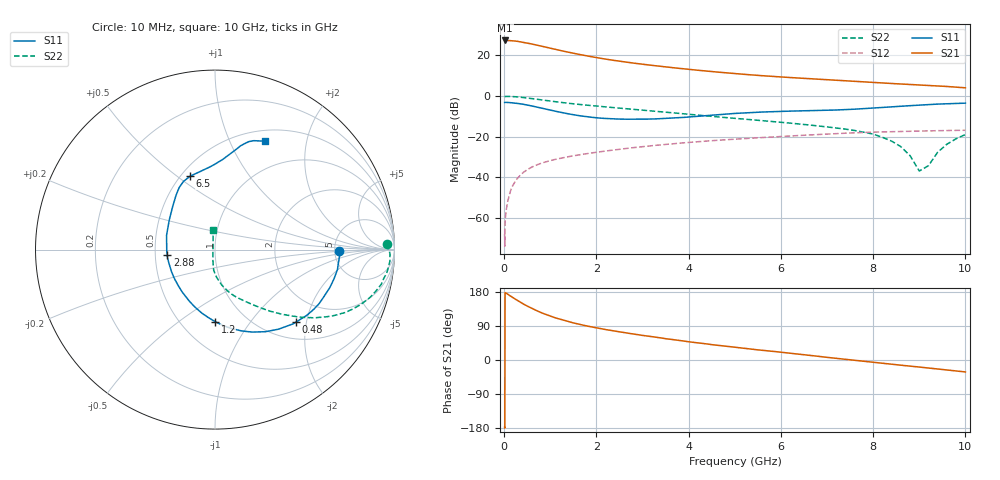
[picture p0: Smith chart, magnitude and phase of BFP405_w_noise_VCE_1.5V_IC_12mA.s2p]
! Infineon Technologies  Discrete & RF Semiconductors
! BFP405
! VCE =  1.5 V,  IC =  12 mA
! Common Emitter S-Parameters:  Jan 2016
# GHz  S  MA  R  50
!  f  S11  S21  S12  S22
! GHz  MAG  ANG  MAG  ANG  MAG  ANG  MAG  ANG
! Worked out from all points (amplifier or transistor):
!   233 points, 10 MHz to 10 GHz, reference 50 ohm
!   highest |S21| = 27.3 dB at 20 MHz (marker M1)
!   |S21| within 3 dB of that: start of sweep to 845 MHz
!   unconditionally stable (mu >= 1): start of sweep to 18.58 MHz; 2.274 GHz to end of sweep
!   at 200 MHz: K = 0.18, MSG = 35.4 dB, |S12| = -43.6 dB
!   at 1.74 GHz: K = 0.85, MSG = 24.3 dB, |S12| = -28.6 dB
!   at 10 GHz: K = 1.40, MAG = 6.7 dB, |S12| = -16.9 dB
!   lowest NFmin = 1.77 dB at 900 MHz
!   S11 on the Smith chart (normalised r, x): 10 MHz: 5.47, -0.15; 480 MHz: 1.35, -1.73; 1.2 GHz: 0.72, -0.69; 2.88 GHz: 0.58, -0.04; 6.5 GHz: 0.56, +0.56; 10 GHz: 0.63, +1.37
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0.01  0.6913 -0.6  23.25 -177.6  0.0004 -83.0  0.9593 1.9
0.015  0.6938 -1.3  23.25 -179.9  0.0002 106.0  0.964 0.9
0.02  0.6964 -1.9  23.29 177.9  0.0008 101.5  0.969 0.0
0.1  0.6913 -9.2  23.19 171.7  0.0032 86.2  0.9767 -3.7
0.24  0.6641 -22.0  22.53 160.8  0.0079 80.6  0.9549 -9.5
0.4  0.6287 -35.7  21.17 149.0  0.0126 74.8  0.9201 -15.1
0.48  0.6046 -42.1  20.34 143.6  0.0148 72.3  0.898 -17.7
0.6  0.5673 -51.4  19.04 136.0  0.0177 69.0  0.8624 -21.1
0.8  0.5051 -65.5  16.95 125.0  0.022 65.1  0.8037 -25.9
1  0.4499 -78.0  15 115.7  0.0256 62.1  0.7493 -29.6
1.2  0.401 -90.0  13.33 107.9  0.029 59.9  0.7015 -32.5
1.4  0.3623 -101.4  11.9 101.0  0.0321 58.3  0.66 -35.1
1.68  0.321 -116.3  10.27 92.9  0.0363 56.5  0.6105 -38.1
2.2  0.2794 -142.9  8.085 80.3  0.0441 53.8  0.5378 -42.6
2.88  0.2681 -173.2  6.285 67.2  0.0546 50.1  0.4621 -48.0
3.4  0.2768 167.0  5.35 58.2  0.0626 46.6  0.4093 -52.1
5.1  0.3765 124.7  3.483 32.3  0.0877 34.2  0.2744 -68.1
6.5  0.4321 108.6  2.716 13.8  0.108 23.7  0.199 -79.5
6.8  0.4378 103.6  2.586 9.9  0.1123 21.1  0.1833 -81.7
8.4  0.54 81.0  2.029 -11.2  0.1322 6.2  0.0773 -98.0
9  0.5954 76.2  1.87 -18.6  0.1372 1.1  0.0142 -143.2
10  0.6654 65.2  1.587 -31.5  0.1431 -6.7  0.1124 96.4
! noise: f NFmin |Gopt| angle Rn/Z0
0.9  1.77  0.15  3  0.32
1.8  2.01  0.1  -12  0.29
2.4  2.13  0.09  -14  0.31
3  2.17  0.05  -9  0.29
4  2.32  0.08  -88  0.29
5  2.7  0.15  -96  0.31
